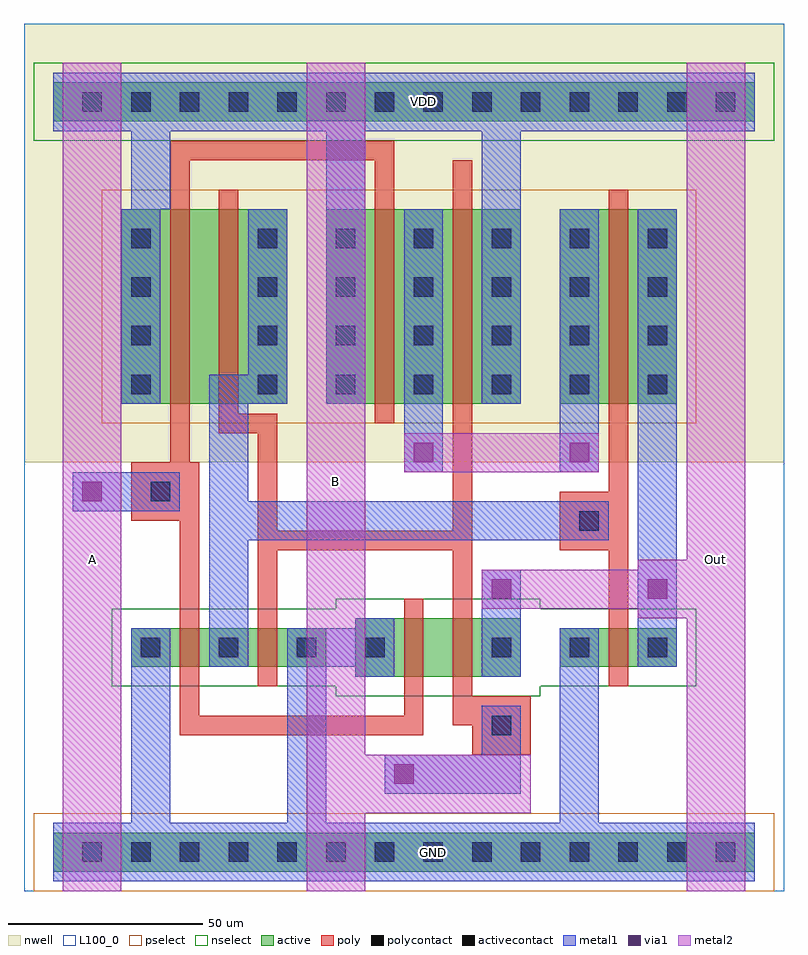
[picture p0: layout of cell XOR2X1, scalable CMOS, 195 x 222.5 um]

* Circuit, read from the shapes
.subckt XOR2X1 A B GND Out VDD
M1 n1 A GND GND nfet w=10u l=5u
M2 GND B n1 GND nfet w=10u l=5u
M3 n2 A GND GND nfet w=15u l=5u
M4 Out B n2 GND nfet w=15u l=5u
M5 Out n1 GND GND nfet w=10u l=5u
M6 n3 A VDD VDD pfet w=50u l=5u
M7 n1 B n3 VDD pfet w=50u l=5u
M8 n4 A VDD VDD pfet w=50u l=5u
M9 VDD B n4 VDD pfet w=50u l=5u
M10 Out n1 n4 VDD pfet w=50u l=5u
.ends

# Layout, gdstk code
import gdstk
lib = gdstk.Library(unit=1e-6, precision=1e-09)
def R(c, l, rs):  # rectangles x0, y0, x1, y1
    for r in rs: c.add(gdstk.rectangle(r[:2], r[2:], *l))
def A(c, l, x, y, w, h, nx, ny, dx, dy):  # array of equal rectangles
    R(c, l, [(x+i*dx, y+j*dy, x+i*dx+w, y+j*dy+h) for i in range(nx) for j in range(ny)])
nwell = (42, 0)
active = (43, 0)
pselect = (44, 0)
nselect = (45, 0)
poly = (46, 0)
polycontact = (47, 0)
activecontact = (48, 0)
metal1 = (49, 0)
via1 = (50, 0)
metal2 = (51, 0)
L100_0 = (100, 0)

xor2x1 = lib.new_cell('XOR2X1')
R(xor2x1, nwell, [(0,112.5,195,115), (0,115,195,225), (7.5,115,187.5,192.5), (0,192.5,195,217.5), (7.5,217.5,187.5,225)])
R(xor2x1, active, [(7.5,7.5,187.5,17.5), (85,57.5,127.5,72.5), (27.5,60,77.5,70), (137.5,60,167.5,70), (25,127.5,67.5,177.5), (77.5,127.5,127.5,177.5), (137.5,127.5,167.5,177.5), (7.5,200,187.5,210)])
R(xor2x1, pselect, [(2.5,2.5,192.5,22.5), (20,122.5,172.5,182.5)])
R(xor2x1, nselect, [(80,52.5,132.5,55), (22.5,55,172.5,75), (80,75,132.5,77.5), (2.5,195,192.5,215)])
R(xor2x1, poly, [(115,37.5,130,45), (40,42.5,102.5,47.5), (110,45,130,52.5), (40,47.5,45,97.5), (97.5,47.5,102.5,77.5), (110,52.5,115,90), (60,55,65,90), (150,55,155,90), (60,90,115,95), (137.5,90,155,105), (60,95,65,120), (110,95,115,190), (27.5,97.5,45,112.5), (150,105,155,182.5), (37.5,112.5,42.5,190), (50,120,65,125), (90,122.5,95,190), (50,125,55,182.5), (37.5,190,95,195)])
R(xor2x1, polycontact, [(120,42.5,125,47.5), (142.5,95,147.5,100), (32.5,102.5,37.5,107.5)])
A(xor2x1, activecontact, 15, 10, 5, 5, 14, 2, 12.5, 192.5)
A(xor2x1, activecontact, 30, 62.5, 5, 5, 3, 1, 20, 0)
A(xor2x1, activecontact, 120, 62.5, 5, 5, 3, 1, 20, 0)
A(xor2x1, activecontact, 27.5, 130, 5, 5, 1, 4, 0, 12.5)
A(xor2x1, activecontact, 60, 130, 5, 5, 6, 4, 20, 12.5)
R(xor2x1, activecontact, [(87.5,62.5,92.5,67.5)])
R(xor2x1, metal1, [(7.5,5,187.5,20), (27.5,20,37.5,70), (67.5,20,77.5,60), (137.5,20,147.5,70), (92.5,27.5,127.5,37.5), (117.5,37.5,127.5,50), (85,57.5,95,60), (117.5,57.5,127.5,85), (47.5,60,57.5,92.5), (67.5,60,95,70), (157.5,60,167.5,177.5), (85,70,95,72.5), (47.5,92.5,150,102.5), (12.5,100,40,110), (47.5,102.5,57.5,127.5), (97.5,110,107.5,177.5), (137.5,110,147.5,177.5), (25,127.5,35,177.5), (47.5,127.5,67.5,135), (77.5,127.5,87.5,197.5), (117.5,127.5,127.5,197.5), (57.5,135,67.5,177.5), (27.5,177.5,37.5,197.5), (7.5,197.5,187.5,212.5)])
R(xor2x1, via1, [(95,30,100,35), (120,77.5,125,82.5), (160,77.5,165,82.5), (15,102.5,20,107.5), (100,112.5,105,117.5), (140,112.5,145,117.5)])
R(xor2x1, metal2, [(10,2.5,25,215), (72.5,2.5,87.5,22.5), (170,2.5,185,72.5), (72.5,22.5,130,37.5), (72.5,37.5,87.5,215), (157.5,72.5,185,75), (117.5,75,185,85), (157.5,85,185,87.5), (170,87.5,185,215), (97.5,110,147.5,120)])
R(xor2x1, L100_0, [(0,2.5,195,225)])
xor2x1.add(gdstk.Label('GND', (105,12.5), layer=49, texttype=1))
xor2x1.add(gdstk.Label('VDD', (102.5,205), layer=49, texttype=1))
xor2x1.add(gdstk.Label('A', (17.5,87.5), layer=51, texttype=1))
xor2x1.add(gdstk.Label('B', (80,107.5), layer=51, texttype=1))
xor2x1.add(gdstk.Label('Out', (177.5,87.5), layer=51, texttype=1))

lib.write_gds('XOR2X1.gds')
